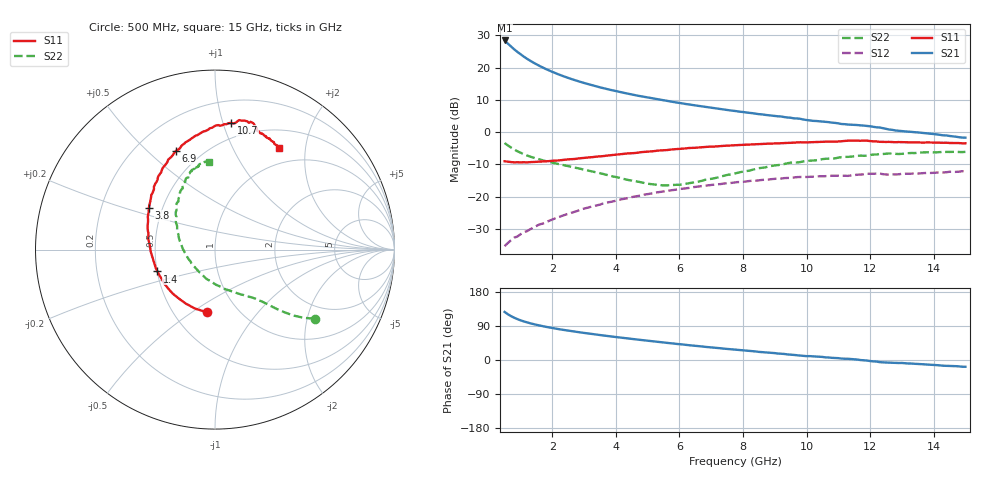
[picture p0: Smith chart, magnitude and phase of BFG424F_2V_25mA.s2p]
! Filename BFG424F_2V_25mA.prm
! Simulation_Values
! Created	by	janssen	on	nov	2006
!	Column ranking S11, S21,S12,S22 both magnitude and phase.
!	VCE	=	2	V,	IC	=	25	mA
!	Common	Emitter	S-Parameters
#	GHZ	S	MA	R	50
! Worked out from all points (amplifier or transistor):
!   146 points, 500 MHz to 15 GHz, reference 50 ohm
!   highest |S21| = 28.4 dB at 500 MHz (marker M1)
!   |S21| within 3 dB of that: start of sweep to 833.3 MHz
!   unconditionally stable (mu >= 1): 1.402 GHz to end of sweep
!   at 2.9 GHz: K = 1.16, MAG = 17.4 dB, |S12| = -24.0 dB
!   at 7.8 GHz: K = 1.14, MAG = 8.7 dB, |S12| = -15.5 dB
!   at 15 GHz: K = 1.44, MAG = 1.3 dB, |S12| = -12.2 dB
!   lowest NFmin = 2.10 dB at 900 MHz
!   S11 on the Smith chart (normalised r, x): 500 MHz: 0.72, -0.58; 1.4 GHz: 0.50, -0.14; 3.8 GHz: 0.42, +0.24; 6.9 GHz: 0.36, +0.61; 10.7 GHz: 0.37, +1.06; 15 GHz: 0.75, +1.54
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0.5  0.352 -97.0  26.27 126.8  0.017 65.8  0.676 -34.8
0.6  0.347 -108.6  23.52 120.8  0.019 63.9  0.621 -37.7
0.7  0.342 -118.4  21.18 115.8  0.021 64.0  0.575 -39.8
0.8  0.339 -126.9  19.17 111.6  0.023 63.8  0.537 -41.4
0.9  0.34 -134.0  17.5 108.0  0.024 64.0  0.504 -42.8
1  0.339 -140.2  16.06 104.7  0.026 64.4  0.478 -43.8
1.1  0.34 -145.7  14.81 101.9  0.028 64.9  0.454 -44.8
1.2  0.339 -150.6  13.71 99.4  0.029 65.5  0.434 -45.6
1.4  0.343 -159.2  11.95 94.9  0.033 66.5  0.401 -47.3
1.7  0.348 -169.4  10 89.2  0.038 67.7  0.363 -49.8
2.1  0.36 179.5  8.176 83.0  0.046 68.5  0.327 -53.7
2.5  0.377 170.7  6.896 77.5  0.054 69.1  0.296 -58.4
3  0.397 161.0  5.762 71.5  0.065 68.6  0.261 -65.4
3.8  0.435 147.9  4.54 62.7  0.082 67.0  0.211 -81.0
4.5  0.469 138.4  3.822 55.6  0.098 64.8  0.177 -98.8
5.4  0.518 127.2  3.167 47.1  0.118 60.7  0.15 -131.2
6.9  0.591 111.7  2.422 34.1  0.149 53.8  0.185 174.6
7.8  0.625 103.7  2.105 27.1  0.167 49.5  0.231 154.6
10.2  0.697 86.2  1.49 9.7  0.203 37.1  0.362 122.6
10.7  0.711 82.8  1.422 6.5  0.208 35.2  0.386 117.7
12.6  0.703 69.7  1.093 -6.9  0.217 26.5  0.465 104.7
15  0.669 58.0  0.817 -17.9  0.245 18.4  0.492 94.2
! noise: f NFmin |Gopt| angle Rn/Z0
0.9  2.1  0.25  -166.3  0.19
2  2.5  0.22  -152.2  0.21
